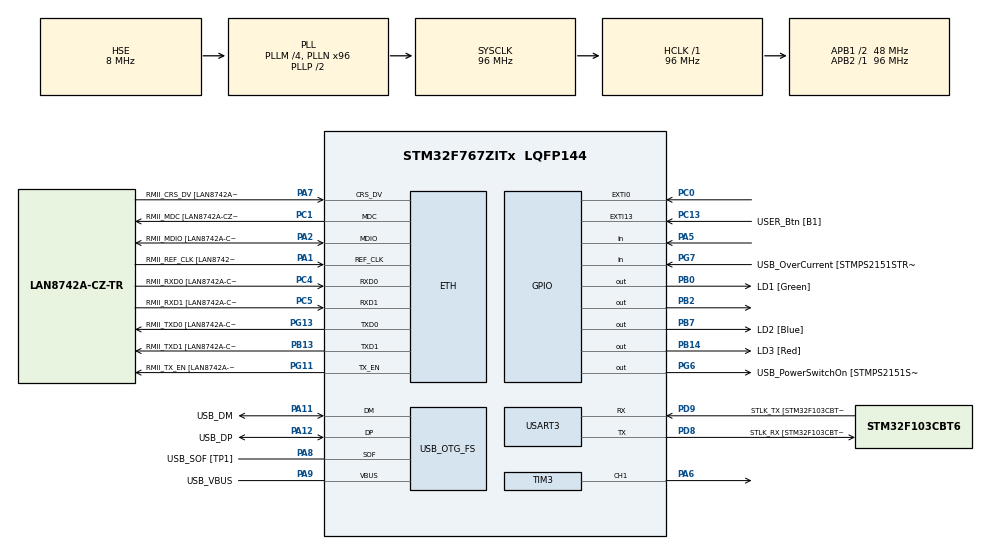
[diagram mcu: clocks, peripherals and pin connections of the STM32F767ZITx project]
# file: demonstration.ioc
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CORTEX_M7.default_mode_Activation=1
ETH.MediaInterface=HAL_ETH_RMII_MODE
ETH.PHY_Name=LAN8742A_PHY_ADDRESS
ETH.PHY_Value=0
ETH.PhyAddress=0
Mcu.Family=STM32F7
Mcu.Name=STM32F767ZITx
Mcu.Package=LQFP144
NVIC.EXTI0_IRQn=true\:5\:0\:false\:false\:true\:true\:true\:true
NVIC.PriorityGroup=NVIC_PRIORITYGROUP_4
PA1.GPIO_Label=RMII_REF_CLK [LAN8742A-CZ-TR_REFCLK0]
PA1.Mode=RMII
PA1.Signal=ETH_REF_CLK
PA10.GPIO_Label=USB_ID
PA10.Signal=USB_OTG_FS_ID
PA11.GPIO_Label=USB_DM
PA11.Mode=Device_Only
PA11.Signal=USB_OTG_FS_DM
PA12.GPIO_Label=USB_DP
PA12.Mode=Device_Only
PA12.Signal=USB_OTG_FS_DP
PA13.GPIO_Label=TMS
PA13.Mode=Serial_Wire
PA13.Signal=SYS_JTMS-SWDIO
PA14.GPIO_Label=TCK
PA14.Mode=Serial_Wire
PA14.Signal=SYS_JTCK-SWCLK
PA2.GPIO_Label=RMII_MDIO [LAN8742A-CZ-TR_MDIO]
PA2.Mode=RMII
PA2.Signal=ETH_MDIO
PA5.Signal=GPIO_Input
PA6.Signal=S_TIM3_CH1
PA7.GPIO_Label=RMII_CRS_DV [LAN8742A-CZ-TR_CRS_DV]
PA7.Mode=RMII
PA7.Signal=ETH_CRS_DV
PA8.GPIO_Label=USB_SOF [TP1]
PA8.Mode=Activate_SOF_FS
PA8.Signal=USB_OTG_FS_SOF
PA9.GPIO_Label=USB_VBUS
PA9.Mode=Activate_VBUS
PA9.Signal=USB_OTG_FS_VBUS
PB0.GPIO_Label=LD1 [Green]
PB0.Signal=GPIO_Output
PB13.GPIO_Label=RMII_TXD1 [LAN8742A-CZ-TR_TXD1]
PB13.Mode=RMII
PB13.Signal=ETH_TXD1
PB14.GPIO_Label=LD3 [Red]
PB14.Signal=GPIO_Output
PB2.Signal=GPIO_Output
PB3.GPIO_Label=SWO
PB3.Signal=SYS_JTDO-SWO
PB7.GPIO_Label=LD2 [Blue]
PB7.Signal=GPIO_Output
PC0.GPIO_PuPd=GPIO_PULLDOWN
PC0.Signal=GPIO_EXTI0
PC1.GPIO_Label=RMII_MDC [LAN8742A-CZ-TR_MDC]
PC1.Mode=RMII
PC1.Signal=ETH_MDC
PC13.GPIO_Label=USER_Btn [B1]
PC13.Signal=GPXTI13
PC14/OSC32_IN.Mode=LSE-External-Oscillator
PC14/OSC32_IN.Signal=RCC_OSC32_IN
PC15/OSC32_OUT.Mode=LSE-External-Oscillator
PC15/OSC32_OUT.Signal=RCC_OSC32_OUT
PC4.GPIO_Label=RMII_RXD0 [LAN8742A-CZ-TR_RXD0]
PC4.Mode=RMII
PC4.Signal=ETH_RXD0
PC5.GPIO_Label=RMII_RXD1 [LAN8742A-CZ-TR_RXD1]
PC5.Mode=RMII
PC5.Signal=ETH_RXD1
PD8.GPIO_Label=STLK_RX [STM32F103CBT6_PA3]
PD8.Mode=Asynchronous
PD8.Signal=USART3_TX
PD9.GPIO_Label=STLK_TX [STM32F103CBT6_PA2]
PD9.Mode=Asynchronous
PD9.Signal=USART3_RX
PG11.GPIO_Label=RMII_TX_EN [LAN8742A-CZ-TR_TXEN]
PG11.Mode=RMII
PG11.Signal=ETH_TX_EN
PG13.GPIO_Label=RMII_TXD0 [LAN8742A-CZ-TR_TXD0]
PG13.Mode=RMII
PG13.Signal=ETH_TXD0
PG6.GPIO_Label=USB_PowerSwitchOn [STMPS2151STR_EN]
PG6.Signal=GPIO_Output
PG7.GPIO_Label=USB_OverCurrent [STMPS2151STR_FAULT]
PG7.Signal=GPIO_Input
PH0/OSC_IN.GPIO_Label=MCO [STM32F103CBT6_PA8]
PH0/OSC_IN.Mode=HSE-External-Clock-Source
PH0/OSC_IN.Signal=RCC_OSC_IN
PH1/OSC_OUT.Mode=HSE-External-Clock-Source
PH1/OSC_OUT.Signal=RCC_OSC_OUT
ProjectManager.HeapSize=0x200
ProjectManager.StackSize=0x400
ProjectManager.TargetToolchain=STM32CubeIDE
RCC.48MHZClocksFreq_Value=24000000
RCC.AHBFreq_Value=96000000
RCC.APB1CLKDivider=RCC_HCLK_DIV2
RCC.APB1Freq_Value=48000000
RCC.APB1TimFreq_Value=96000000
RCC.APB2Freq_Value=96000000
RCC.APB2TimFreq_Value=96000000
RCC.CortexFreq_Value=96000000
RCC.HCLKFreq_Value=96000000
RCC.HSE_VALUE=8000000
RCC.HSI_VALUE=16000000
RCC.PLLM=4
RCC.PLLMUL=RCC_PLL_MUL9
RCC.PLLN=96
RCC.PLLQ=4
RCC.PRESCALERUSB=RCC_USBCLKSOURCE_PLL_DIV1_5
RCC.SYSCLKFreq_VALUE=96000000
RCC.SYSCLKSource=RCC_SYSCLKSOURCE_PLLCLK
RCC.SYSCLKSourceVirtual=RCC_SYSCLKSOURCE_PLLCLK
RCC.USBFreq_Value=48000000
RCC.VCOOutputFreq_Value=192000000
SH.S_TIM3_CH1.0=TIM3_CH1,PWM Generation1 CH1
TIM3.Channel-PWM\ Generation1\ CH1=TIM_CHANNEL_1
TIM3.Period=19999
TIM3.Prescaler=83
USART3.VirtualMode-Asynchronous=VM_ASYNC
USB_OTG_FS.VirtualMode=Device_Only
VP_TIM3_VS_ClockSourceINT.Mode=Internal
board=NUCLEO-F767ZI

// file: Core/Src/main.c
/* USER CODE BEGIN Header */
/**
  ******************************************************************************
  * @file           : main.c
  * @brief          : Main program body
  ******************************************************************************
  */
/* USER CODE END Header */
#include "main.h"
#include "string.h"

/* USER CODE BEGIN Includes */
#include <stdio.h>
#include <inttypes.h>
#include "app_config.h"
#include "workload_config.h"
#include "app_uart.h"
#include "cycle_metrics.h"
#include "dht11.h"
#include "edf_selector.h"
#include "edf_executor.h"
#include "debug_status.h"
#include "hcsr04.h"
#include "isolated_profile.h"
#include "minimal_superloop_config.h"
#include "minimal_superloop_profile.h"
#include "platform_time.h"
#include "profile_samples.h"
#include "scheduler_release.h"
#include "superloop_scalability_profile.h"
#include "superloop_checks_profile.h"
#include "task_stats.h"
#include "task_init.h"
#include "task_reporting.h"

/* USER CODE END Includes */

#if defined ( __ICCARM__ ) /*!< IAR Compiler */
#pragma location=0x2007c000
ETH_DMADescTypeDef  DMARxDscrTab[ETH_RX_DESC_CNT]; /* Ethernet Rx DMA Descriptors */
#pragma location=0x2007c0a0
ETH_DMADescTypeDef  DMATxDscrTab[ETH_TX_DESC_CNT]; /* Ethernet Tx DMA Descriptors */

#elif defined ( __CC_ARM )  /* MDK ARM Compiler */

__attribute__((at(0x2007c000))) ETH_DMADescTypeDef  DMARxDscrTab[ETH_RX_DESC_CNT]; /* Ethernet Rx DMA Descriptors */
__attribute__((at(0x2007c0a0))) ETH_DMADescTypeDef  DMATxDscrTab[ETH_TX_DESC_CNT]; /* Ethernet Tx DMA Descriptors */

#elif defined ( __GNUC__ ) /* GNU Compiler */

ETH_DMADescTypeDef DMARxDscrTab[ETH_RX_DESC_CNT] __attribute__((section(".RxDecripSection"))); /* Ethernet Rx DMA Descriptors */
ETH_DMADescTypeDef DMATxDscrTab[ETH_TX_DESC_CNT] __attribute__((section(".TxDecripSection")));   /* Ethernet Tx DMA Descriptors */
#endif

ETH_TxPacketConfig TxConfig;

ETH_HandleTypeDef heth;

TIM_HandleTypeDef htim3;

UART_HandleTypeDef huart3;

PCD_HandleTypeDef hpcd_USB_OTG_FS;

/* USER CODE BEGIN PV */

/* Physical sensors are separate from the paper's workload tau1/tau2/tau3. */
static Task_t hcsr04_task;
static Task_t dht11_task;

#if ENABLE_TAU1
static Task_t tau1;
#endif

#if ENABLE_TAU2
static Task_t tau2;
#endif

#if ENABLE_TAU3
static Task_t tau3;
#endif

static int g_distance_cm = -1;

static uint8_t g_temp = 0;
static uint8_t g_hum = 0;
static int g_dht_res = -99;

static uint64_t g_profile_start_us = 0;
static uint32_t g_profile_start_ms = 0;

static CycleMetrics_t g_scheduler_metrics;
static CycleMetrics_t g_polling_metrics;

/* USER CODE END PV */

void SystemClock_Config(void);
static void MPU_Config(void);
static void MX_GPIO_Init(void);
static void MX_ETH_Init(void);
static void MX_USART3_UART_Init(void);
static void MX_USB_OTG_FS_PCD_Init(void);
static void MX_TIM3_Init(void);

/* USER CODE BEGIN 0 */

#if SCHED_ALGO == SCHED_ALGO_SUPERLOOP
__STATIC_FORCEINLINE uint8_t SuperLoop_MeasureReadiness(
    const Task_t *task, uint64_t now_us, uint64_t *release_us,
    uint32_t *measured_cycles)
{
  uint32_t start = DWT->CYCCNT;

  /* The input dependency pins the release load and comparison after start.
   * A memory clobber alone would not pin register-only arithmetic. */
  __asm volatile ("" : "+r" (task) : "r" (start) : "memory");
  uint64_t release = task->next_release_us;
  uint8_t ready = ((int64_t)(now_us - release) >= 0);
  /* Consume both results before the end timestamp can be read. */
  __asm volatile ("" : : "r" (ready), "r" (release) : "memory");

  uint32_t end = DWT->CYCCNT;
  *release_us = release;
  *measured_cycles += (uint32_t)(end - start);
  return ready;
}
#endif

#if (SCHED_ALGO == SCHED_ALGO_CHUNKED_EDF) && ENABLE_HCSR04
void HAL_GPIO_EXTI_Callback(uint16_t GPIO_Pin)
{
  HCSR04_Async_OnExti(GPIO_Pin);
}
#endif

static void HCSR04_Run(void)
{
  g_distance_cm = HCSR04_Read_cm_Blocking();
  hcsr04_task.run_count++;
}

static void DHT11_Run(void)
{
  g_dht_res = DHT11_Read(&g_temp, &g_hum);
  dht11_task.run_count++;
}

#if ENABLE_TAU1
static void Tau1_Run(void)
{
  Workload_RunUs(TAU1_WORKLOAD_US);
  tau1.run_count++;
}
#endif

#if ENABLE_TAU2
static void Tau2_Run(void)
{
  Workload_RunUs(TAU2_WORKLOAD_US);
  tau2.run_count++;
}
#endif

#if ENABLE_TAU3
static void Tau3_Run(void)
{
  Workload_RunUs(TAU3_WORKLOAD_US);
  tau3.run_count++;
}
#endif

#if SCHED_ALGO == SCHED_ALGO_CHUNKED_EDF
#if !ENABLE_HCSR04 && !ENABLE_TAU2 && \
    !ENABLE_TAU1 && !ENABLE_TAU3 && !ENABLE_DHT11
#error "Chunked EDF requires at least one enabled task"
#endif

/* Preserve the measured EDF tie order: workload tau2, tau1, tau3.
 * Selection uses absolute deadlines first; array order only breaks ties. */
static SchedTaskRef_t g_sched_tasks[] =
{

  #if ENABLE_HCSR04
    { &hcsr04_task, HCSR04_Run, 0ULL, 1U, SCHED_TASK_STAGED_HCSR04 },
  #endif

  #if ENABLE_TAU2
    { &tau2, Tau2_Run, TAU2_WORKLOAD_US, 1U,
      SCHED_TASK_WORKLOAD },
  #endif

  #if ENABLE_TAU1
    { &tau1, Tau1_Run, TAU1_WORKLOAD_US, 1U,
      SCHED_TASK_WORKLOAD },
  #endif

  #if ENABLE_TAU3
    { &tau3, Tau3_Run, TAU3_WORKLOAD_US, 1U,
      SCHED_TASK_WORKLOAD },
  #endif

  #if ENABLE_DHT11
    { &dht11_task, DHT11_Run, 0ULL, 1U, SCHED_TASK_STAGED_DHT11 },
  #endif
};

static const uint32_t g_sched_task_count =
    sizeof(g_sched_tasks) / sizeof(g_sched_tasks[0]);
#endif

static void Task_SaveExecSample(Task_t *task, uint64_t exec_time_us)
{
  if (task == &hcsr04_task)
  {
    ProfileSamples_SaveHCSR04(exec_time_us);
  }
  else if (task == &dht11_task)
  {
    ProfileSamples_SaveDHT11(exec_time_us);
  }
}

static void Reset_Profiling_Stats(void)
{
  Task_ResetStats(&hcsr04_task);
  Task_ResetStats(&dht11_task);

  #if (SCHED_ALGO == SCHED_ALGO_CHUNKED_EDF) && ENABLE_HCSR04
    HCSR04_Async_Reset();
  #endif

  #if (SCHED_ALGO == SCHED_ALGO_CHUNKED_EDF) && ENABLE_DHT11
    DHT11_Async_Reset();
  #endif

	#if ENABLE_TAU1
	  Task_ResetStats(&tau1);
	#endif

	#if ENABLE_TAU2
	  Task_ResetStats(&tau2);
	#endif

	#if ENABLE_TAU3
	  Task_ResetStats(&tau3);
	#endif

  CycleMetrics_Reset(&g_scheduler_metrics);
  CycleMetrics_Reset(&g_polling_metrics);

  ProfileSamples_Reset();
}

/* App-level adapter: binds module statistics to this firmware's task set and UART. */
static void Print_Profiling_Summary(void)
{
  char msg[512];
  /* Snapshot before UART output; finish the current Superloop iteration. */
  uint64_t snapshot_us = scheduler_now_us();
  uint64_t measured_window_us = snapshot_us - g_profile_start_us;
  if (measured_window_us == 0ULL) measured_window_us = 1ULL;

  uint64_t hcsr04_task_avg_exec = 0;
  uint64_t dht11_task_avg_exec = 0;

  uint64_t hcsr04_task_avg_response = 0;
  uint64_t dht11_task_avg_response = 0;

  #if ENABLE_TAU1
    uint64_t tau1_avg_exec = 0;
    uint64_t tau1_avg_response = 0;
  #endif

	#if ENABLE_TAU2
	  uint64_t tau2_avg_exec = 0;
	  uint64_t tau2_avg_response = 0;
	#endif

	#if ENABLE_TAU3
	  uint64_t tau3_avg_exec = 0;
	  uint64_t tau3_avg_response = 0;
	#endif

  uint32_t cycles_per_us = PlatformTime_CyclesPerUs();

  uint64_t sched_avg_cycles = 0;
  uint64_t sched_total_us = 0;
  uint64_t sched_overhead_x10000 = 0;

  uint64_t poll_avg_cycles = 0;
  uint64_t poll_total_us = 0;
  uint64_t poll_overhead_x10000 = 0;

  uint64_t task_exec_total_us = 0;
  uint64_t task_exec_percent_x10000 = 0;

  uint64_t logical_idle_us = 0;
  uint64_t logical_idle_percent_x10000 = 0;

  uint64_t measured_busy_us = 0;
  uint64_t measured_busy_percent_x10000 = 0;

  #if ENABLE_HCSR04
    if (hcsr04_task.run_count > 0)
    {
      hcsr04_task_avg_exec = hcsr04_task.total_exec_us / hcsr04_task.run_count;
      hcsr04_task_avg_response = hcsr04_task.total_response_us / hcsr04_task.run_count;
    }
  #endif

	#if ENABLE_DHT11
		if (dht11_task.run_count > 0)
		{
			dht11_task_avg_exec = dht11_task.total_exec_us / dht11_task.run_count;
			dht11_task_avg_response = dht11_task.total_response_us / dht11_task.run_count;
		}
	#endif

  #if ENABLE_TAU1
    if (tau1.run_count > 0)
    {
      tau1_avg_exec = tau1.total_exec_us / tau1.run_count;
      tau1_avg_response = tau1.total_response_us / tau1.run_count;
    }
  #endif

	#if ENABLE_TAU2
	  if (tau2.run_count > 0)
	  {
		tau2_avg_exec = tau2.total_exec_us / tau2.run_count;
		tau2_avg_response = tau2.total_response_us / tau2.run_count;
	  }
	#endif

	#if ENABLE_TAU3
	  if (tau3.run_count > 0)
	  {
		tau3_avg_exec = tau3.total_exec_us / tau3.run_count;
		tau3_avg_response = tau3.total_response_us / tau3.run_count;
	  }
	#endif

  if (g_scheduler_metrics.count > 0U)
  {
    sched_avg_cycles = g_scheduler_metrics.total_cycles / g_scheduler_metrics.count;
    sched_total_us = g_scheduler_metrics.total_cycles / cycles_per_us;
    sched_overhead_x10000 = (sched_total_us * 1000000ULL) / measured_window_us;
  }

  if (g_polling_metrics.count > 0U)
  {
    poll_avg_cycles = g_polling_metrics.total_cycles / g_polling_metrics.count;
    poll_total_us = g_polling_metrics.total_cycles / cycles_per_us;
    poll_overhead_x10000 = (poll_total_us * 1000000ULL) / measured_window_us;
  }

  task_exec_total_us = 0;

	#if ENABLE_HCSR04
	  task_exec_total_us += hcsr04_task.total_exec_us + hcsr04_task.accumulated_exec_us;
	#endif

	#if ENABLE_DHT11
	  task_exec_total_us += dht11_task.total_exec_us + dht11_task.accumulated_exec_us;
	#endif

  #if ENABLE_TAU1
    task_exec_total_us += tau1.total_exec_us + tau1.accumulated_exec_us;
  #endif

  #if ENABLE_TAU2
    task_exec_total_us += tau2.total_exec_us + tau2.accumulated_exec_us;
  #endif

	#if ENABLE_TAU3
		task_exec_total_us += tau3.total_exec_us + tau3.accumulated_exec_us;
	#endif

  task_exec_percent_x10000 = (task_exec_total_us * 1000000ULL) / measured_window_us;

  /*
   * measured_busy_us includes:
   * - actual task execution time
   * - continuous polling/check overhead, if polling measurement is enabled
   *
   * This is still not full physical CPU busy time, because small profiling/statistics
   * updates and loop overhead outside measured blocks are not fully included.
   */
  measured_busy_us = task_exec_total_us + poll_total_us;

  if (measured_busy_us < measured_window_us)
  {
    logical_idle_us = measured_window_us - measured_busy_us;
  }
  else
  {
    logical_idle_us = 0;
  }

  logical_idle_percent_x10000 = (logical_idle_us * 1000000ULL) / measured_window_us;
  measured_busy_percent_x10000 = (measured_busy_us * 1000000ULL) / measured_window_us;

  #if ENABLE_EXTENDED_STATS
  snprintf(msg, sizeof(msg),
           "\r\n=== PROFILING SUMMARY %lu s ===\r\n",
           (unsigned long)(PROFILE_WINDOW_US / 1000000ULL));
  uart_print(msg);

  snprintf(msg, sizeof(msg),
           "scheduler algorithm: %s\r\n",
           SCHED_ALGO_NAME);
  uart_print(msg);

  snprintf(msg, sizeof(msg),
           "workload scenario: %s\r\n",
           WORKLOAD_SCENARIO_NAME);
  uart_print(msg);

  snprintf(msg, sizeof(msg),
           "scenario target utilization: %lu %%\r\n",
           (unsigned long)WORKLOAD_UTILIZATION_PERCENT);
  uart_print(msg);

  snprintf(msg, sizeof(msg),
           "enabled workload utilization (excludes sensors): %lu.%02lu %%\r\n",
           (unsigned long)(UTIL_X10000 / 100ULL),
           (unsigned long)(UTIL_X10000 % 100ULL));
  uart_print(msg);

  #if SCHED_ALGO == SCHED_ALGO_CHUNKED_EDF
    snprintf(msg, sizeof(msg),
             "edf chunk size: %lu us\r\n",
             (unsigned long)EDF_CHUNK_US);
    uart_print(msg);
  #endif

	#if ENABLE_HCSR04
	  snprintf(msg, sizeof(msg),
			   "hcsr04_task HC-SR04 | runs=%lu\r\n",
			   (unsigned long)hcsr04_task.run_count);
	  uart_print(msg);

	  snprintf(msg, sizeof(msg),
			   "  exec_us     avg=%lu min=%lu max=%lu\r\n",
			   (unsigned long)hcsr04_task_avg_exec,
			   (unsigned long)hcsr04_task.min_exec_us,
			   (unsigned long)hcsr04_task.max_exec_us);
	  uart_print(msg);

	  snprintf(msg, sizeof(msg),
			   "  response_us avg=%lu min=%lu max=%lu\r\n",
			   (unsigned long)hcsr04_task_avg_response,
			   (unsigned long)hcsr04_task.min_response_us,
			   (unsigned long)hcsr04_task.max_response_us);
	  uart_print(msg);

	  snprintf(msg, sizeof(msg),
			   "  deadline   D=%lu ms | misses=%lu | max_lateness_us=%lu\r\n",
			   (unsigned long)hcsr04_task.deadline_ms,
			   (unsigned long)hcsr04_task.deadline_miss_count,
			   (unsigned long)hcsr04_task.max_lateness_us);
	  uart_print(msg);

	  snprintf(msg, sizeof(msg),
			   "  skipped releases=%lu | total timing failures=%lu\r\n",
			   (unsigned long)hcsr04_task.skipped_release_count,
			   (unsigned long)hcsr04_task.total_timing_failures);
	  uart_print(msg);

	  TaskReporting_PrintExecHistogram("  exec distribution:", &hcsr04_task);
	#endif

	#if ENABLE_DHT11
	  snprintf(msg, sizeof(msg),
			   "dht11_task DHT11   | runs=%lu\r\n",
			   (unsigned long)dht11_task.run_count);
	  uart_print(msg);

	  snprintf(msg, sizeof(msg),
			   "  exec_us     avg=%lu min=%lu max=%lu\r\n",
			   (unsigned long)dht11_task_avg_exec,
			   (unsigned long)dht11_task.min_exec_us,
			   (unsigned long)dht11_task.max_exec_us);
	  uart_print(msg);

	  snprintf(msg, sizeof(msg),
			   "  response_us avg=%lu min=%lu max=%lu\r\n",
			   (unsigned long)dht11_task_avg_response,
			   (unsigned long)dht11_task.min_response_us,
			   (unsigned long)dht11_task.max_response_us);
	  uart_print(msg);

	  snprintf(msg, sizeof(msg),
			   "  deadline   D=%lu ms | misses=%lu | max_lateness_us=%lu\r\n",
			   (unsigned long)dht11_task.deadline_ms,
			   (unsigned long)dht11_task.deadline_miss_count,
			   (unsigned long)dht11_task.max_lateness_us);
	  uart_print(msg);

	  snprintf(msg, sizeof(msg),
			   "  skipped releases=%lu | total timing failures=%lu\r\n",
			   (unsigned long)dht11_task.skipped_release_count,
			   (unsigned long)dht11_task.total_timing_failures);
	  uart_print(msg);

	  TaskReporting_PrintExecHistogram("  exec distribution:", &dht11_task);
	#endif

  #if ENABLE_TAU1
    snprintf(msg, sizeof(msg),
             "tau1 | runs=%lu\r\n",
             (unsigned long)tau1.run_count);
    uart_print(msg);

    snprintf(msg, sizeof(msg),
             "  period     T=%lu ms | target C=%lu us | deadline D=%lu ms\r\n",
             (unsigned long)tau1.period_ms,
             (unsigned long)TAU1_WORKLOAD_US,
             (unsigned long)tau1.deadline_ms);
    uart_print(msg);

    snprintf(msg, sizeof(msg),
             "  exec_us     avg=%lu min=%lu max=%lu\r\n",
             (unsigned long)tau1_avg_exec,
             (unsigned long)tau1.min_exec_us,
             (unsigned long)tau1.max_exec_us);
    uart_print(msg);

    snprintf(msg, sizeof(msg),
             "  response_us avg=%lu min=%lu max=%lu\r\n",
             (unsigned long)tau1_avg_response,
             (unsigned long)tau1.min_response_us,
             (unsigned long)tau1.max_response_us);
    uart_print(msg);

    snprintf(msg, sizeof(msg),
             "  deadline   D=%lu ms | misses=%lu | max_lateness_us=%lu\r\n",
             (unsigned long)tau1.deadline_ms,
             (unsigned long)tau1.deadline_miss_count,
             (unsigned long)tau1.max_lateness_us);
    uart_print(msg);

    snprintf(msg, sizeof(msg),
             "  skipped releases=%lu | total timing failures=%lu\r\n",
             (unsigned long)tau1.skipped_release_count,
             (unsigned long)tau1.total_timing_failures);
    uart_print(msg);

    TaskReporting_PrintExecHistogram("  exec distribution:", &tau1);
  #endif

	#if ENABLE_TAU2
	  snprintf(msg, sizeof(msg),
			   "tau2 | runs=%lu\r\n",
			   (unsigned long)tau2.run_count);
	  uart_print(msg);

	  snprintf(msg, sizeof(msg),
			   "  period     T=%lu ms | target C=%lu us | deadline D=%lu ms\r\n",
			   (unsigned long)tau2.period_ms,
			   (unsigned long)TAU2_WORKLOAD_US,
			   (unsigned long)tau2.deadline_ms);
	  uart_print(msg);

	  snprintf(msg, sizeof(msg),
			   "  exec_us     avg=%lu min=%lu max=%lu\r\n",
			   (unsigned long)tau2_avg_exec,
			   (unsigned long)tau2.min_exec_us,
			   (unsigned long)tau2.max_exec_us);
	  uart_print(msg);

	  snprintf(msg, sizeof(msg),
			   "  response_us avg=%lu min=%lu max=%lu\r\n",
			   (unsigned long)tau2_avg_response,
			   (unsigned long)tau2.min_response_us,
			   (unsigned long)tau2.max_response_us);
	  uart_print(msg);

	  snprintf(msg, sizeof(msg),
			   "  deadline   D=%lu ms | misses=%lu | max_lateness_us=%lu\r\n",
			   (unsigned long)tau2.deadline_ms,
			   (unsigned long)tau2.deadline_miss_count,
			   (unsigned long)tau2.max_lateness_us);
	  uart_print(msg);

	  snprintf(msg, sizeof(msg),
			   "  skipped releases=%lu | total timing failures=%lu\r\n",
			   (unsigned long)tau2.skipped_release_count,
			   (unsigned long)tau2.total_timing_failures);
	  uart_print(msg);

	  TaskReporting_PrintExecHistogram("  exec distribution:", &tau2);
	#endif

	#if ENABLE_TAU3
	  snprintf(msg, sizeof(msg),
			   "tau3 | runs=%lu\r\n",
			   (unsigned long)tau3.run_count);
	  uart_print(msg);

	  snprintf(msg, sizeof(msg),
			   "  period     T=%lu ms | target C=%lu us | deadline D=%lu ms\r\n",
			   (unsigned long)tau3.period_ms,
			   (unsigned long)TAU3_WORKLOAD_US,
			   (unsigned long)tau3.deadline_ms);
	  uart_print(msg);

	  snprintf(msg, sizeof(msg),
			   "  exec_us     avg=%lu min=%lu max=%lu\r\n",
			   (unsigned long)tau3_avg_exec,
			   (unsigned long)tau3.min_exec_us,
			   (unsigned long)tau3.max_exec_us);
	  uart_print(msg);

	  snprintf(msg, sizeof(msg),
			   "  response_us avg=%lu min=%lu max=%lu\r\n",
			   (unsigned long)tau3_avg_response,
			   (unsigned long)tau3.min_response_us,
			   (unsigned long)tau3.max_response_us);
	  uart_print(msg);

	  snprintf(msg, sizeof(msg),
			   "  deadline   D=%lu ms | misses=%lu | max_lateness_us=%lu\r\n",
			   (unsigned long)tau3.deadline_ms,
			   (unsigned long)tau3.deadline_miss_count,
			   (unsigned long)tau3.max_lateness_us);
	  uart_print(msg);

	  snprintf(msg, sizeof(msg),
			   "  skipped releases=%lu | total timing failures=%lu\r\n",
			   (unsigned long)tau3.skipped_release_count,
			   (unsigned long)tau3.total_timing_failures);
	  uart_print(msg);

	  TaskReporting_PrintExecHistogram("  exec distribution:", &tau3);
	#endif

  snprintf(msg, sizeof(msg),
           "scheduler decision | loops=%lu\r\n",
           (unsigned long)g_scheduler_metrics.count);
  uart_print(msg);

  snprintf(msg, sizeof(msg),
           "  cycles avg=%lu min=%lu max=%lu\r\n",
           (unsigned long)sched_avg_cycles,
           (unsigned long)g_scheduler_metrics.min_cycles,
           (unsigned long)g_scheduler_metrics.max_cycles);
  uart_print(msg);

  snprintf(msg, sizeof(msg),
           "  total_us=%lu | overhead=%lu.%04lu %%\r\n",
           (unsigned long)sched_total_us,
           (unsigned long)(sched_overhead_x10000 / 10000),
           (unsigned long)(sched_overhead_x10000 % 10000));
  uart_print(msg);

  snprintf(msg, sizeof(msg),
           "polling check | loops=%lu\r\n",
           (unsigned long)g_polling_metrics.count);
  uart_print(msg);

  snprintf(msg, sizeof(msg),
           "  cycles avg=%lu min=%lu max=%lu\r\n",
           (unsigned long)poll_avg_cycles,
           (unsigned long)g_polling_metrics.min_cycles,
           (unsigned long)g_polling_metrics.max_cycles);
  uart_print(msg);

  snprintf(msg, sizeof(msg),
           "  total_us=%lu | overhead=%lu.%04lu %%\r\n",
           (unsigned long)poll_total_us,
           (unsigned long)(poll_overhead_x10000 / 10000),
           (unsigned long)(poll_overhead_x10000 % 10000));
  uart_print(msg);

  snprintf(msg, sizeof(msg),
           "cpu time distribution\r\n");
  uart_print(msg);

  snprintf(msg, sizeof(msg),
           "  task_exec total_us=%lu | percent=%lu.%04lu %%\r\n",
           (unsigned long)task_exec_total_us,
           (unsigned long)(task_exec_percent_x10000 / 10000),
           (unsigned long)(task_exec_percent_x10000 % 10000));
  uart_print(msg);

  snprintf(msg, sizeof(msg),
           "  measured_busy total_us=%lu | percent=%lu.%04lu %%\r\n",
           (unsigned long)measured_busy_us,
           (unsigned long)(measured_busy_percent_x10000 / 10000),
           (unsigned long)(measured_busy_percent_x10000 % 10000));
  uart_print(msg);

  snprintf(msg, sizeof(msg),
           "  logical_idle total_us=%lu | percent=%lu.%04lu %%\r\n",
           (unsigned long)logical_idle_us,
           (unsigned long)(logical_idle_percent_x10000 / 10000),
           (unsigned long)(logical_idle_percent_x10000 % 10000));
  uart_print(msg);

  #if SCHEDULER_MODE == SCHED_WFI_OPTIMIZED
    uart_print("  WFI enabled: CPU may sleep between interrupts; physical idle is not directly measured\r\n");
  #else
    uart_print("  busy polling enabled: CPU does not sleep; logical idle is spent checking task releases\r\n");
  #endif

#if ENABLE_HCSR04 || ENABLE_DHT11
  snprintf(msg, sizeof(msg),
           "Last values  | Distance=%d cm | DHT11 result=%d | Temp=%d C | Hum=%d %%\r\n",
           g_distance_cm,
           g_dht_res,
           g_temp,
           g_hum);
  uart_print(msg);
#endif

  ProfileSamples_Print();
  #endif

  snprintf(msg, sizeof(msg),
           "CSV_RUN,EXTENDED_STATS=%u,SCHED=%s,SCENARIO=%s,U=%lu,WINDOW_US=%lu,REQUESTED_WINDOW_US=%lu,TAU_U_X10000=%lu,SENSOR_TASKS=%u,TAU_TASKS=%u,CHUNK_US=%lu,SCHED_LOOPS=%lu,SCHED_OVH=%lu.%04lu,POLL_LOOPS=%lu,POLL_OVH=%lu.%04lu,TASK_EXEC=%lu.%04lu,BUSY=%lu.%04lu,IDLE=%lu.%04lu\r\n",
           (unsigned int)ENABLE_EXTENDED_STATS,
           SCHED_ALGO_NAME,
           WORKLOAD_SCENARIO_NAME,
           (unsigned long)WORKLOAD_UTILIZATION_PERCENT,
           (unsigned long)measured_window_us,
           (unsigned long)PROFILE_WINDOW_US,
           (unsigned long)UTIL_X10000,
           (unsigned int)(ENABLE_HCSR04 + ENABLE_DHT11),
           (unsigned int)ACTIVE_TAU_TASK_COUNT,
           (unsigned long)SCHED_CSV_CHUNK_US,
           (unsigned long)g_scheduler_metrics.count,
           (unsigned long)(sched_overhead_x10000 / 10000),
           (unsigned long)(sched_overhead_x10000 % 10000),
           (unsigned long)g_polling_metrics.count,
           (unsigned long)(poll_overhead_x10000 / 10000),
           (unsigned long)(poll_overhead_x10000 % 10000),
           (unsigned long)(task_exec_percent_x10000 / 10000),
           (unsigned long)(task_exec_percent_x10000 % 10000),
           (unsigned long)(measured_busy_percent_x10000 / 10000),
           (unsigned long)(measured_busy_percent_x10000 % 10000),
           (unsigned long)(logical_idle_percent_x10000 / 10000),
           (unsigned long)(logical_idle_percent_x10000 % 10000));
  uart_print(msg);

  #if ENABLE_TAU1
    TaskReporting_PrintCsvTask(SCHED_ALGO_NAME, WORKLOAD_SCENARIO_NAME,
                               WORKLOAD_UTILIZATION_PERCENT, "TAU1", &tau1,
                               TAU1_WORKLOAD_US, snapshot_us);
  #endif

  #if ENABLE_TAU2
    TaskReporting_PrintCsvTask(SCHED_ALGO_NAME, WORKLOAD_SCENARIO_NAME,
                               WORKLOAD_UTILIZATION_PERCENT, "TAU2", &tau2,
                               TAU2_WORKLOAD_US, snapshot_us);
  #endif

  #if ENABLE_TAU3
    TaskReporting_PrintCsvTask(SCHED_ALGO_NAME, WORKLOAD_SCENARIO_NAME,
                               WORKLOAD_UTILIZATION_PERCENT, "TAU3", &tau3,
                               TAU3_WORKLOAD_US, snapshot_us);
  #endif

  uart_print("=======================================\r\n\r\n");
}

static void Tasks_Init(void)
{
  uint64_t now_us = scheduler_now_us();

	#if ENABLE_HCSR04
	  Task_InitPeriodic(&hcsr04_task, "hcsr04", HCSR04_PERIOD_US,
	                    HCSR04_PERIOD_MS, now_us);

    #if SCHED_ALGO == SCHED_ALGO_CHUNKED_EDF
      HCSR04_Async_Reset();
    #endif
	#endif

	#if ENABLE_DHT11
	  Task_InitPeriodic(&dht11_task, "dht11", DHT11_PERIOD_US,
	                    DHT11_PERIOD_MS, now_us);

    #if SCHED_ALGO == SCHED_ALGO_CHUNKED_EDF
      DHT11_Async_Reset();
    #endif
	#endif

  #if ENABLE_TAU1
    Task_InitPeriodic(&tau1, "tau1", TAU1_PERIOD_US,
                      TAU1_PERIOD_MS, now_us);
  #endif

	#if ENABLE_TAU2
	  Task_InitPeriodic(&tau2, "tau2", TAU2_PERIOD_US,
	                    TAU2_PERIOD_MS, now_us);
	#endif

	#if ENABLE_TAU3
	  Task_InitPeriodic(&tau3, "tau3", TAU3_PERIOD_US,
	                    TAU3_PERIOD_MS, now_us);
	#endif

}

/* USER CODE END 0 */

int main(void)
{

  /* MPU Configuration--------------------------------------------------------*/
  MPU_Config();

  /* MCU Configuration--------------------------------------------------------*/

  /* Reset of all peripherals, Initializes the Flash interface and the Systick. */
  HAL_Init();

  /* Configure the system clock */
  SystemClock_Config();

  /* USER CODE BEGIN SysInit */

  PlatformTime_Init(HAL_RCC_GetHCLKFreq() / 1000000U);

  /* USER CODE END SysInit */

  /* Initialize all configured peripherals */
  MX_GPIO_Init();
  MX_ETH_Init();
  MX_USART3_UART_Init();
  MX_USB_OTG_FS_PCD_Init();
  MX_TIM3_Init();

  /* USER CODE BEGIN 2 */

  DWT_Init();

  #if EXPERIMENT_MODE == EXPERIMENT_MINIMAL_SUPERLOOP_PROFILE
  MinimalSuperloopProfile_Run();
  #elif EXPERIMENT_MODE == EXPERIMENT_SUPERLOOP_CHECKS_PROFILE
  SuperloopChecksProfile_Run();
  #elif EXPERIMENT_MODE == EXPERIMENT_SUPERLOOP_SCALABILITY_CLEAN
  SuperloopScalabilityProfile_RunClean();
  #elif EXPERIMENT_MODE == EXPERIMENT_SUPERLOOP_SCALABILITY_CHECKS
  SuperloopScalabilityProfile_RunChecks();
  #else
  char msg[128];

  uart_print("\r\nScheduler demo started\r\n");
  snprintf(msg, sizeof(msg),
           "Workload scenario: %s\r\n",
           WORKLOAD_SCENARIO_NAME);
  uart_print(msg);
  #if ENABLE_HCSR04 || ENABLE_DHT11
    uart_print("Real sensor tasks are enabled\r\n");
  #else
    uart_print("Real sensor tasks are disabled\r\n");
  #endif

  HAL_Delay(500);

  Tasks_Init();

  g_profile_start_us = scheduler_now_us();
  g_profile_start_ms = HAL_GetTick();

  #if EXPERIMENT_MODE == EXPERIMENT_ISOLATED_HCSR04
    IsolatedProfile_Run(&hcsr04_task, HCSR04_Run,
                        "\r\n=== ISOLATED HC-SR04 PROFILE ===\r\n",
                        "Only hcsr04_task is running. No dht11_task. No scheduler competition.\r\n",
                        PROFILE_WINDOW_MS,
                        (SCHEDULER_MODE == SCHED_WFI_OPTIMIZED) ? 1U : 0U,
                        Reset_Profiling_Stats, ProfileSamples_SaveHCSR04,
                        Print_Profiling_Summary);
  #endif

  #if EXPERIMENT_MODE == EXPERIMENT_ISOLATED_DHT11
    IsolatedProfile_Run(&dht11_task, DHT11_Run,
                        "\r\n=== ISOLATED DHT11 PROFILE ===\r\n",
                        "Only dht11_task is running. No hcsr04_task. No scheduler competition.\r\n",
                        PROFILE_WINDOW_MS,
                        (SCHEDULER_MODE == SCHED_WFI_OPTIMIZED) ? 1U : 0U,
                        Reset_Profiling_Stats, ProfileSamples_SaveDHT11,
                        Print_Profiling_Summary);
  #endif
  #endif

  /* USER CODE END 2 */

  /* Infinite loop */
  /* USER CODE BEGIN WHILE */
  while (1)
  {
    #if SCHED_ALGO == SCHED_ALGO_CHUNKED_EDF
    uint32_t sched_start_cycles;
    uint32_t sched_end_cycles;
    #endif
    uint32_t scheduler_cycles_this_loop = 0;

    uint64_t now_us = scheduler_now_us();

    /*
     * ============================================================
     * Scheduler decision phase
     * ============================================================
     *
     * Each task has its own next_release_us.
     * A task is ready when now_us >= next_release_us.
     *
     * Real sensors can be disabled completely for workload-only
     * scheduling experiments.
     */

    #if SCHED_ALGO == SCHED_ALGO_SUPERLOOP

    #if ENABLE_HCSR04
      uint64_t hcsr04_task_release_us;
      uint8_t hcsr04_task_ready = SuperLoop_MeasureReadiness(
          &hcsr04_task, now_us, &hcsr04_task_release_us, &scheduler_cycles_this_loop);
    #else
      uint8_t hcsr04_task_ready = 0;
      uint64_t hcsr04_task_release_us = 0;
    #endif

    #if ENABLE_DHT11
      uint64_t dht11_task_release_us;
      uint8_t dht11_task_ready = SuperLoop_MeasureReadiness(
          &dht11_task, now_us, &dht11_task_release_us, &scheduler_cycles_this_loop);
    #else
      uint8_t dht11_task_ready = 0;
      uint64_t dht11_task_release_us = 0;
    #endif

    #if ENABLE_TAU1
      uint64_t tau1_release_us;
      uint8_t tau1_ready = SuperLoop_MeasureReadiness(
          &tau1, now_us, &tau1_release_us, &scheduler_cycles_this_loop);
    #else
      uint8_t tau1_ready = 0;
      uint64_t tau1_release_us = 0;
    #endif

    #if ENABLE_TAU2
      uint64_t tau2_release_us;
      uint8_t tau2_ready = SuperLoop_MeasureReadiness(
          &tau2, now_us, &tau2_release_us, &scheduler_cycles_this_loop);
    #else
      uint8_t tau2_ready = 0;
      uint64_t tau2_release_us = 0;
    #endif

    #if ENABLE_TAU3
      uint64_t tau3_release_us;
      uint8_t tau3_ready = SuperLoop_MeasureReadiness(
          &tau3, now_us, &tau3_release_us, &scheduler_cycles_this_loop);
    #else
      uint8_t tau3_ready = 0;
      uint64_t tau3_release_us = 0;
    #endif

    #if ENABLE_POLLING_PROFILE
      CycleMetrics_Update(&g_polling_metrics, scheduler_cycles_this_loop);
    #endif

    uint8_t any_task_ready =
        hcsr04_task_ready ||
        dht11_task_ready ||
        tau1_ready ||
        tau2_ready ||
        tau3_ready;

    if (any_task_ready)
    {
      CycleMetrics_Update(&g_scheduler_metrics, scheduler_cycles_this_loop);
    }

    /*
     * ============================================================
     * Execution phase
     * ============================================================
     *
     * workload-only baseline order:
     *
     *   tau1 -> tau2 -> tau3
     *
     * Optional tasks:
     *   hcsr04_task/dht11_task are disabled for pure scheduler analysis.
     *
     * Deadline miss:
     *   executed activation finished after its absolute deadline.
     *
     * Skipped release:
     *   activation occurred while the previous activation of the same
     *   task was still not accounted/executed separately.
     */

    #if ENABLE_HCSR04
      if (hcsr04_task_ready)
      {
        uint64_t release_us = hcsr04_task_release_us;

        uint64_t exec_start = micros();

        HCSR04_Run();

        uint64_t exec_finish = micros();
        uint64_t finish_us = scheduler_now_us();

        uint64_t exec_time = exec_finish - exec_start;
        uint64_t response_time = finish_us - release_us;

        Task_UpdateExecStats(&hcsr04_task, exec_time);
        Task_SaveExecSample(&hcsr04_task, exec_time);
        Task_UpdateResponseStats(&hcsr04_task, response_time);
        Task_CheckDeadline(&hcsr04_task, response_time);

        Task_AdvanceRelease(&hcsr04_task, finish_us);
      }
    #endif

    #if ENABLE_TAU1
      if (tau1_ready)
      {
        uint64_t release_us = tau1_release_us;

        uint64_t exec_start = micros();

        Tau1_Run();

        uint64_t exec_finish = micros();
        uint64_t finish_us = scheduler_now_us();

        uint64_t exec_time = exec_finish - exec_start;
        uint64_t response_time = finish_us - release_us;

        Task_UpdateExecStats(&tau1, exec_time);
        Task_UpdateResponseStats(&tau1, response_time);
        Task_CheckDeadline(&tau1, response_time);

        Task_AdvanceRelease(&tau1, finish_us);
      }
    #endif

    #if ENABLE_TAU2
      if (tau2_ready)
      {
        uint64_t release_us = tau2_release_us;

        uint64_t exec_start = micros();

        Tau2_Run();

        uint64_t exec_finish = micros();
        uint64_t finish_us = scheduler_now_us();

        uint64_t exec_time = exec_finish - exec_start;
        uint64_t response_time = finish_us - release_us;

        Task_UpdateExecStats(&tau2, exec_time);
        Task_UpdateResponseStats(&tau2, response_time);
        Task_CheckDeadline(&tau2, response_time);

        Task_AdvanceRelease(&tau2, finish_us);
      }
    #endif

    #if ENABLE_TAU3
      if (tau3_ready)
      {
        uint64_t release_us = tau3_release_us;

        uint64_t exec_start = micros();

        Tau3_Run();

        uint64_t exec_finish = micros();
        uint64_t finish_us = scheduler_now_us();

        uint64_t exec_time = exec_finish - exec_start;
        uint64_t response_time = finish_us - release_us;

        Task_UpdateExecStats(&tau3, exec_time);
        Task_UpdateResponseStats(&tau3, response_time);
        Task_CheckDeadline(&tau3, response_time);

        Task_AdvanceRelease(&tau3, finish_us);
      }
    #endif

    #if ENABLE_DHT11
      if (dht11_task_ready)
      {
        uint64_t release_us = dht11_task_release_us;

        uint64_t exec_start = micros();

        DHT11_Run();

        uint64_t exec_finish = micros();
        uint64_t finish_us = scheduler_now_us();

        uint64_t exec_time = exec_finish - exec_start;
        uint64_t response_time = finish_us - release_us;

        Task_UpdateExecStats(&dht11_task, exec_time);
        Task_SaveExecSample(&dht11_task, exec_time);
        Task_UpdateResponseStats(&dht11_task, response_time);
        Task_CheckDeadline(&dht11_task, response_time);

        Task_AdvanceRelease(&dht11_task, finish_us);
      }
    #endif

    #elif SCHED_ALGO == SCHED_ALGO_CHUNKED_EDF

    sched_start_cycles = DWT->CYCCNT;
    EdfExecutorContext_t executor_context =
    {
      &g_distance_cm, &g_temp, &g_hum, &g_dht_res, Task_SaveExecSample
    };
    SchedTaskRef_t *selected_task = Scheduler_SelectChunkedEDF(g_sched_tasks,
                                                               g_sched_task_count,
                                                               now_us);
    sched_end_cycles = DWT->CYCCNT;
    scheduler_cycles_this_loop += (uint32_t)(sched_end_cycles - sched_start_cycles);

    #if ENABLE_POLLING_PROFILE
      CycleMetrics_Update(&g_polling_metrics, scheduler_cycles_this_loop);
    #endif

    if (selected_task != NULL)
    {
      CycleMetrics_Update(&g_scheduler_metrics, scheduler_cycles_this_loop);
      Scheduler_RunChunkedTask(selected_task, &executor_context);
    }

    #endif

    #if ENABLE_DEBUG_PRINT
      /*
       * Debug print. Disabled during real profiling because UART blocks CPU.
       */
      static uint64_t next_debug_us = 0;

      uint64_t now_debug_us = micros();

      if (now_debug_us >= next_debug_us)
      {
        DebugStatus_Print(hcsr04_task.run_count, dht11_task.run_count, g_distance_cm,
                          g_temp, g_hum, g_dht_res);
        next_debug_us = now_debug_us + DEBUG_PERIOD_US;
      }
    #endif

    /*
     * ============================================================
     * End of profiling window
     * ============================================================
     */
    uint64_t profile_now_us = scheduler_now_us();

    if ((profile_now_us - g_profile_start_us) >= PROFILE_WINDOW_US)
    {
      Print_Profiling_Summary();

      #if EXPERIMENT_MODE == EXPERIMENT_INTEGRATED
        /* One independent measurement per reset. Preserve unfinished jobs;
         * UART reporting must not become part of a subsequent measurement. */
        while (1) { __WFI(); }
      #endif

      Reset_Profiling_Stats();

      g_profile_start_us = scheduler_now_us();
      g_profile_start_ms = HAL_GetTick();

      #if ENABLE_HCSR04
        hcsr04_task.next_release_us = g_profile_start_us + hcsr04_task.period_us;
        hcsr04_task.next_release_ms = (uint32_t)(hcsr04_task.next_release_us / 1000ULL);
      #endif

      #if ENABLE_DHT11
        dht11_task.next_release_us = g_profile_start_us + dht11_task.period_us;
        dht11_task.next_release_ms = (uint32_t)(dht11_task.next_release_us / 1000ULL);
      #endif

      #if ENABLE_TAU1
        tau1.next_release_us = g_profile_start_us + tau1.period_us;
        tau1.next_release_ms = (uint32_t)(tau1.next_release_us / 1000ULL);
      #endif

      #if ENABLE_TAU2
        tau2.next_release_us = g_profile_start_us + tau2.period_us;
        tau2.next_release_ms = (uint32_t)(tau2.next_release_us / 1000ULL);
      #endif

      #if ENABLE_TAU3
        tau3.next_release_us = g_profile_start_us + tau3.period_us;
        tau3.next_release_ms = (uint32_t)(tau3.next_release_us / 1000ULL);
      #endif
    }

    /*
     * Optional WFI mode.
     *
     * For the current workload-only busy baseline, keep:
     *   SCHEDULER_MODE = SCHED_BUSY_POLLING
     *
     * WFI can be tested later separately.
     */
    #if SCHEDULER_MODE == SCHED_WFI_OPTIMIZED
      __WFI();
    #endif
  }

  /* USER CODE END WHILE */

}

void SystemClock_Config(void)
{
  RCC_OscInitTypeDef RCC_OscInitStruct = {0};
  RCC_ClkInitTypeDef RCC_ClkInitStruct = {0};

  /** Configure LSE Drive Capability
  */
  HAL_PWR_EnableBkUpAccess();

  /** Configure the main internal regulator output voltage
  */
  __HAL_RCC_PWR_CLK_ENABLE();
  __HAL_PWR_VOLTAGESCALING_CONFIG(PWR_REGULATOR_VOLTAGE_SCALE3);

  /** Initializes the RCC Oscillators according to the specified parameters
  * in the RCC_OscInitTypeDef structure.
  */
  RCC_OscInitStruct.OscillatorType = RCC_OSCILLATORTYPE_HSE;
  RCC_OscInitStruct.HSEState = RCC_HSE_BYPASS;
  RCC_OscInitStruct.PLL.PLLState = RCC_PLL_ON;
  RCC_OscInitStruct.PLL.PLLSource = RCC_PLLSOURCE_HSE;
  RCC_OscInitStruct.PLL.PLLM = 4;
  RCC_OscInitStruct.PLL.PLLN = 96;
  RCC_OscInitStruct.PLL.PLLP = RCC_PLLP_DIV2;
  RCC_OscInitStruct.PLL.PLLQ = 4;
  RCC_OscInitStruct.PLL.PLLR = 2;
  if (HAL_RCC_OscConfig(&RCC_OscInitStruct) != HAL_OK)
  {
    Error_Handler();
  }

  /** Activate the Over-Drive mode
  */
  if (HAL_PWREx_EnableOverDrive() != HAL_OK)
  {
    Error_Handler();
  }

  /** Initializes the CPU, AHB and APB buses clocks
  */
  RCC_ClkInitStruct.ClockType = RCC_CLOCKTYPE_HCLK|RCC_CLOCKTYPE_SYSCLK
                              |RCC_CLOCKTYPE_PCLK1|RCC_CLOCKTYPE_PCLK2;
  RCC_ClkInitStruct.SYSCLKSource = RCC_SYSCLKSOURCE_PLLCLK;
  RCC_ClkInitStruct.AHBCLKDivider = RCC_SYSCLK_DIV1;
  RCC_ClkInitStruct.APB1CLKDivider = RCC_HCLK_DIV2;
  RCC_ClkInitStruct.APB2CLKDivider = RCC_HCLK_DIV1;

  if (HAL_RCC_ClockConfig(&RCC_ClkInitStruct, FLASH_LATENCY_3) != HAL_OK)
  {
    Error_Handler();
  }
}

static void MX_ETH_Init(void)
{

   static uint8_t MACAddr[6];

  heth.Instance = ETH;
  MACAddr[0] = 0x00;
  MACAddr[1] = 0x80;
  MACAddr[2] = 0xE1;
  MACAddr[3] = 0x00;
  MACAddr[4] = 0x00;
  MACAddr[5] = 0x00;
  heth.Init.MACAddr = &MACAddr[0];
  heth.Init.MediaInterface = HAL_ETH_RMII_MODE;
  heth.Init.TxDesc = DMATxDscrTab;
  heth.Init.RxDesc = DMARxDscrTab;
  heth.Init.RxBuffLen = 1524;

  if (HAL_ETH_Init(&heth) != HAL_OK)
  {
    Error_Handler();
  }

  memset(&TxConfig, 0 , sizeof(ETH_TxPacketConfig));
  TxConfig.Attributes = ETH_TX_PACKETS_FEATURES_CSUM | ETH_TX_PACKETS_FEATURES_CRCPAD;
  TxConfig.ChecksumCtrl = ETH_CHECKSUM_IPHDR_PAYLOAD_INSERT_PHDR_CALC;
  TxConfig.CRCPadCtrl = ETH_CRC_PAD_INSERT;

}

static void MX_TIM3_Init(void)
{

  TIM_ClockConfigTypeDef sClockSourceConfig = {0};
  TIM_MasterConfigTypeDef sMasterConfig = {0};
  TIM_OC_InitTypeDef sConfigOC = {0};

  htim3.Instance = TIM3;
  htim3.Init.Prescaler = 83;
  htim3.Init.CounterMode = TIM_COUNTERMODE_UP;
  htim3.Init.Period = 19999;
  htim3.Init.ClockDivision = TIM_CLOCKDIVISION_DIV1;
  htim3.Init.AutoReloadPreload = TIM_AUTORELOAD_PRELOAD_DISABLE;
  if (HAL_TIM_Base_Init(&htim3) != HAL_OK)
  {
    Error_Handler();
  }
  sClockSourceConfig.ClockSource = TIM_CLOCKSOURCE_INTERNAL;
  if (HAL_TIM_ConfigClockSource(&htim3, &sClockSourceConfig) != HAL_OK)
  {
    Error_Handler();
  }
  if (HAL_TIM_PWM_Init(&htim3) != HAL_OK)
  {
    Error_Handler();
  }
  sMasterConfig.MasterOutputTrigger = TIM_TRGO_RESET;
  sMasterConfig.MasterSlaveMode = TIM_MASTERSLAVEMODE_DISABLE;
  if (HAL_TIMEx_MasterConfigSynchronization(&htim3, &sMasterConfig) != HAL_OK)
  {
    Error_Handler();
  }
  sConfigOC.OCMode = TIM_OCMODE_PWM1;
  sConfigOC.Pulse = 0;
  sConfigOC.OCPolarity = TIM_OCPOLARITY_HIGH;
  sConfigOC.OCFastMode = TIM_OCFAST_DISABLE;
  if (HAL_TIM_PWM_ConfigChannel(&htim3, &sConfigOC, TIM_CHANNEL_1) != HAL_OK)
  {
    Error_Handler();
  }
  HAL_TIM_MspPostInit(&htim3);

}

static void MX_USART3_UART_Init(void)
{

  huart3.Instance = USART3;
  huart3.Init.BaudRate = 115200;
  huart3.Init.WordLength = UART_WORDLENGTH_8B;
  huart3.Init.StopBits = UART_STOPBITS_1;
  huart3.Init.Parity = UART_PARITY_NONE;
  huart3.Init.Mode = UART_MODE_TX_RX;
  huart3.Init.HwFlowCtl = UART_HWCONTROL_NONE;
  huart3.Init.OverSampling = UART_OVERSAMPLING_16;
  huart3.Init.OneBitSampling = UART_ONE_BIT_SAMPLE_DISABLE;
  huart3.AdvancedInit.AdvFeatureInit = UART_ADVFEATURE_NO_INIT;
  if (HAL_UART_Init(&huart3) != HAL_OK)
  {
    Error_Handler();
  }

}

static void MX_USB_OTG_FS_PCD_Init(void)
{

  hpcd_USB_OTG_FS.Instance = USB_OTG_FS;
  hpcd_USB_OTG_FS.Init.dev_endpoints = 6;
  hpcd_USB_OTG_FS.Init.speed = PCD_SPEED_FULL;
  hpcd_USB_OTG_FS.Init.dma_enable = DISABLE;
  hpcd_USB_OTG_FS.Init.phy_itface = PCD_PHY_EMBEDDED;
  hpcd_USB_OTG_FS.Init.Sof_enable = ENABLE;
  hpcd_USB_OTG_FS.Init.low_power_enable = DISABLE;
  hpcd_USB_OTG_FS.Init.lpm_enable = DISABLE;
  hpcd_USB_OTG_FS.Init.vbus_sensing_enable = ENABLE;
  hpcd_USB_OTG_FS.Init.use_dedicated_ep1 = DISABLE;
  if (HAL_PCD_Init(&hpcd_USB_OTG_FS) != HAL_OK)
  {
    Error_Handler();
  }

}

static void MX_GPIO_Init(void)
{
  GPIO_InitTypeDef GPIO_InitStruct = {0};

  /* GPIO Ports Clock Enable */
  __HAL_RCC_GPIOC_CLK_ENABLE();
  __HAL_RCC_GPIOH_CLK_ENABLE();
  __HAL_RCC_GPIOA_CLK_ENABLE();
  __HAL_RCC_GPIOB_CLK_ENABLE();
  __HAL_RCC_GPIOD_CLK_ENABLE();
  __HAL_RCC_GPIOG_CLK_ENABLE();

  /*Configure GPIO pin Output Level */
  HAL_GPIO_WritePin(GPIOB, LD1_Pin|GPIO_PIN_2|LD3_Pin|LD2_Pin, GPIO_PIN_RESET);

  /*Configure GPIO pin Output Level */
  HAL_GPIO_WritePin(USB_PowerSwitchOn_GPIO_Port, USB_PowerSwitchOn_Pin, GPIO_PIN_RESET);

  /*Configure GPIO pin : USER_Btn_Pin */
  GPIO_InitStruct.Pin = USER_Btn_Pin;
  GPIO_InitStruct.Mode = GPIO_MODE_IT_RISING;
  GPIO_InitStruct.Pull = GPIO_NOPULL;
  HAL_GPIO_Init(USER_Btn_GPIO_Port, &GPIO_InitStruct);

  /*Configure GPIO pin : PC0 */
  GPIO_InitStruct.Pin = GPIO_PIN_0;
  #if (SCHED_ALGO == SCHED_ALGO_CHUNKED_EDF) && ENABLE_HCSR04
  GPIO_InitStruct.Mode = GPIO_MODE_IT_RISING_FALLING;
  #else
  GPIO_InitStruct.Mode = GPIO_MODE_INPUT;
  #endif
  GPIO_InitStruct.Pull = GPIO_PULLDOWN;
  HAL_GPIO_Init(GPIOC, &GPIO_InitStruct);

  #if (SCHED_ALGO == SCHED_ALGO_CHUNKED_EDF) && ENABLE_HCSR04
  /* HC-SR04 ECHO is captured by EXTI0; ISR only records edge events. */
  HAL_NVIC_SetPriority(EXTI0_IRQn, 5, 0);
  HAL_NVIC_EnableIRQ(EXTI0_IRQn);
  #endif

  /*Configure GPIO pin : PA5 */
  GPIO_InitStruct.Pin = GPIO_PIN_5;
  GPIO_InitStruct.Mode = GPIO_MODE_INPUT;
  GPIO_InitStruct.Pull = GPIO_NOPULL;
  HAL_GPIO_Init(GPIOA, &GPIO_InitStruct);

  /*Configure GPIO pins : LD1_Pin PB2 LD3_Pin LD2_Pin */
  GPIO_InitStruct.Pin = LD1_Pin|GPIO_PIN_2|LD3_Pin|LD2_Pin;
  GPIO_InitStruct.Mode = GPIO_MODE_OUTPUT_PP;
  GPIO_InitStruct.Pull = GPIO_NOPULL;
  GPIO_InitStruct.Speed = GPIO_SPEED_FREQ_LOW;
  HAL_GPIO_Init(GPIOB, &GPIO_InitStruct);

  /*Configure GPIO pin : USB_PowerSwitchOn_Pin */
  GPIO_InitStruct.Pin = USB_PowerSwitchOn_Pin;
  GPIO_InitStruct.Mode = GPIO_MODE_OUTPUT_PP;
  GPIO_InitStruct.Pull = GPIO_NOPULL;
  GPIO_InitStruct.Speed = GPIO_SPEED_FREQ_LOW;
  HAL_GPIO_Init(USB_PowerSwitchOn_GPIO_Port, &GPIO_InitStruct);

  /*Configure GPIO pin : USB_OverCurrent_Pin */
  GPIO_InitStruct.Pin = USB_OverCurrent_Pin;
  GPIO_InitStruct.Mode = GPIO_MODE_INPUT;
  GPIO_InitStruct.Pull = GPIO_NOPULL;
  HAL_GPIO_Init(USB_OverCurrent_GPIO_Port, &GPIO_InitStruct);

}

 /* MPU Configuration */

void MPU_Config(void)
{
  MPU_Region_InitTypeDef MPU_InitStruct = {0};

  /* Disables the MPU */
  HAL_MPU_Disable();

  /** Initializes and configures the Region and the memory to be protected
  */
  MPU_InitStruct.Enable = MPU_REGION_ENABLE;
  MPU_InitStruct.Number = MPU_REGION_NUMBER0;
  MPU_InitStruct.BaseAddress = 0x0;
  MPU_InitStruct.Size = MPU_REGION_SIZE_4GB;
  MPU_InitStruct.SubRegionDisable = 0x87;
  MPU_InitStruct.TypeExtField = MPU_TEX_LEVEL0;
  MPU_InitStruct.AccessPermission = MPU_REGION_NO_ACCESS;
  MPU_InitStruct.DisableExec = MPU_INSTRUCTION_ACCESS_DISABLE;
  MPU_InitStruct.IsShareable = MPU_ACCESS_SHAREABLE;
  MPU_InitStruct.IsCacheable = MPU_ACCESS_NOT_CACHEABLE;
  MPU_InitStruct.IsBufferable = MPU_ACCESS_NOT_BUFFERABLE;

  HAL_MPU_ConfigRegion(&MPU_InitStruct);
  /* Enables the MPU */
  HAL_MPU_Enable(MPU_PRIVILEGED_DEFAULT);

}

void Error_Handler(void)
{
  __disable_irq();
  while (1)
  {
  }
}
